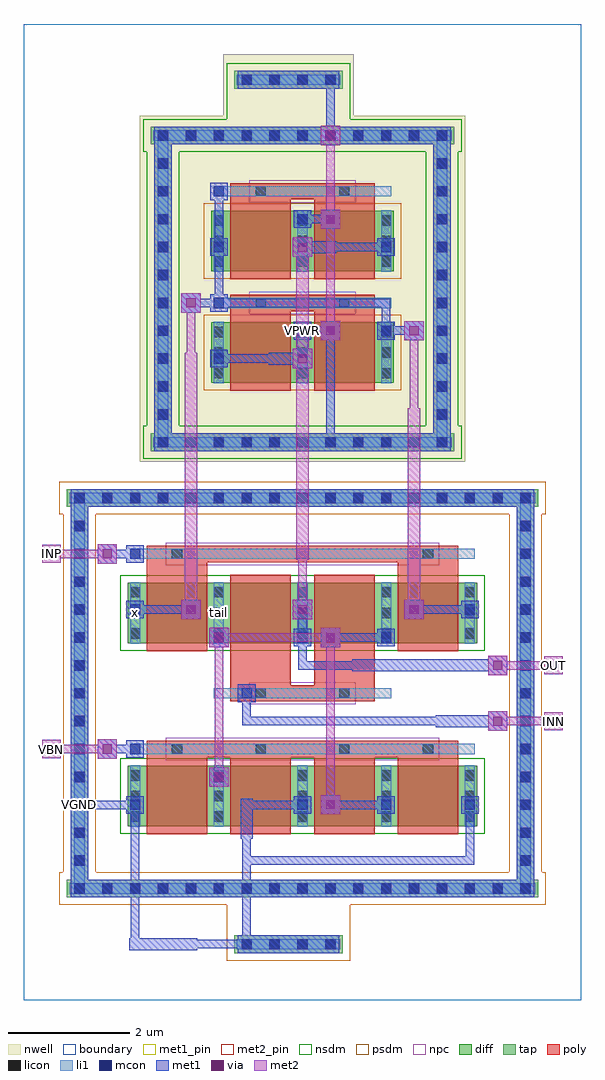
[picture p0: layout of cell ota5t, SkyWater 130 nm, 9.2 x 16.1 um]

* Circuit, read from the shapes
.subckt ota5t INN INP OUT VBN VGND VPWR tail x
XM1 tail VBN VGND VGND sky130_fd_pr__nfet_01v8 w=1 l=1 m=4
XM2 tail INP x VGND sky130_fd_pr__nfet_01v8 w=1 l=1 m=2
XM3 OUT INN tail VGND sky130_fd_pr__nfet_01v8 w=1 l=1 m=2
XM4 VPWR x OUT VPWR sky130_fd_pr__pfet_01v8 w=1 l=1 m=2
XM5 VPWR x x VPWR sky130_fd_pr__pfet_01v8 w=1 l=1 m=2
.ends

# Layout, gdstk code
import gdstk
lib = gdstk.Library(unit=1e-6, precision=1e-09)
def R(c, l, rs):  # rectangles x0, y0, x1, y1
    for r in rs: c.add(gdstk.rectangle(r[:2], r[2:], *l))
def A(c, l, x, y, w, h, nx, ny, dx, dy):  # array of equal rectangles
    R(c, l, [(x+i*dx, y+j*dy, x+i*dx+w, y+j*dy+h) for i in range(nx) for j in range(ny)])
nwell = (64, 20)
diff = (65, 20)
tap = (65, 44)
poly = (66, 20)
licon = (66, 44)
li1 = (67, 20)
mcon = (67, 44)
met1_pin = (68, 16)
met1 = (68, 20)
via = (68, 44)
met2_pin = (69, 16)
met2 = (69, 20)
nsdm = (93, 44)
psdm = (94, 20)
npc = (95, 20)
boundary = (235, 4)

ota5t = lib.new_cell('ota5t')
R(ota5t, nwell, [(1.915,8.875,7.285,14.585), (3.295,14.585,5.445,15.6)])
R(ota5t, diff, [(1.715,2.865,7.485,3.865), (1.715,5.885,7.485,6.885), (3.095,10.18,6.105,11.18), (3.095,12.02,6.105,13.02)])
R(ota5t, tap, [(3.475,0.775,5.265,1.065), (0.715,1.695,8.485,1.985), (0.775,1.695,1.065,8.425), (8.135,1.695,8.425,8.425), (0.715,8.135,8.485,8.425), (2.095,9.055,7.105,9.345), (2.155,9.055,2.445,14.405), (6.755,9.055,7.045,14.405), (2.095,14.115,7.105,14.405), (3.475,15.035,5.265,15.325)])
A(ota5t, poly, 2.03, 2.735, 1, 1.405, 4, 1, 1.38, 0)
R(ota5t, poly, [(2.03,4.005,7.17,4.275), (3.41,4.925,5.79,5.195), (3.41,5.06,4.41,7.015), (4.79,5.06,5.79,7.015), (2.03,5.755,3.03,7.36), (6.17,5.755,7.17,7.36), (2.03,7.225,7.17,7.495), (3.41,10.05,4.41,11.5), (4.79,10.05,5.79,11.5), (3.41,11.365,5.79,11.635), (3.41,11.89,4.41,13.34), (4.79,11.89,5.79,13.34), (3.41,13.205,5.79,13.475)])
A(ota5t, licon, 3.595, 0.835, 0.17, 0.17, 4, 2, 0.46, 14.26)
A(ota5t, licon, 0.835, 1.755, 0.17, 0.17, 17, 2, 0.46, 6.44)
A(ota5t, licon, 0.835, 2.215, 0.17, 0.17, 1, 13, 0, 0.46)
A(ota5t, licon, 8.195, 2.215, 0.17, 0.17, 1, 13, 0, 0.46)
A(ota5t, licon, 1.755, 2.94, 0.17, 0.17, 5, 3, 1.38, 0.34)
A(ota5t, licon, 2.445, 4.055, 0.17, 0.17, 4, 1, 1.38, 0)
A(ota5t, licon, 1.755, 5.96, 0.17, 0.17, 5, 3, 1.38, 0.34)
A(ota5t, licon, 2.215, 9.115, 0.17, 0.17, 11, 2, 0.46, 5.06)
A(ota5t, licon, 2.215, 9.575, 0.17, 0.17, 1, 10, 0, 0.46)
A(ota5t, licon, 6.815, 9.575, 0.17, 0.17, 1, 10, 0, 0.46)
A(ota5t, licon, 3.135, 10.255, 0.17, 0.17, 3, 3, 1.38, 0.34)
A(ota5t, licon, 3.135, 12.095, 0.17, 0.17, 3, 3, 1.38, 0.34)
R(ota5t, licon, [(3.825,4.975,3.995,5.145), (5.205,4.975,5.375,5.145), (2.445,7.275,2.615,7.445), (6.585,7.275,6.755,7.445), (3.825,11.415,3.995,11.585), (5.205,11.415,5.375,11.585), (3.825,13.255,3.995,13.425), (5.205,13.255,5.375,13.425)])
A(ota5t, li1, 1.755, 2.86, 0.17, 1.01, 5, 2, 1.38, 3.02)
A(ota5t, li1, 3.135, 10.175, 0.17, 1.01, 3, 2, 1.38, 1.84)
R(ota5t, li1, [(3.515,0.835,5.225,1.005), (0.755,1.755,8.445,1.925), (0.835,1.755,1.005,8.365), (8.195,1.755,8.365,8.365), (1.755,4.055,7.445,4.225), (3.135,4.975,6.065,5.145), (1.755,7.275,7.445,7.445), (0.755,8.195,8.445,8.365), (2.135,9.115,7.065,9.285), (2.215,9.115,2.385,14.345), (6.815,9.115,6.985,14.345), (3.135,11.415,6.065,11.585), (3.135,13.255,6.065,13.425), (2.135,14.175,7.065,14.345), (3.515,15.095,5.225,15.265)])
A(ota5t, mcon, 3.595, 0.835, 0.17, 0.17, 4, 2, 0.46, 14.26)
A(ota5t, mcon, 0.835, 1.755, 0.17, 0.17, 17, 2, 0.46, 6.44)
A(ota5t, mcon, 0.835, 2.215, 0.17, 0.17, 1, 13, 0, 0.46)
A(ota5t, mcon, 8.195, 2.215, 0.17, 0.17, 1, 13, 0, 0.46)
A(ota5t, mcon, 4.515, 3.135, 0.17, 0.17, 3, 1, 1.38, 0)
A(ota5t, mcon, 3.135, 5.895, 0.17, 0.17, 3, 1, 1.38, 0)
A(ota5t, mcon, 2.215, 9.115, 0.17, 0.17, 11, 2, 0.46, 5.06)
A(ota5t, mcon, 2.215, 9.575, 0.17, 0.17, 1, 7, 0, 0.46)
A(ota5t, mcon, 6.815, 9.575, 0.17, 0.17, 1, 7, 0, 0.46)
A(ota5t, mcon, 3.135, 10.495, 0.17, 0.17, 1, 4, 0, 0.92)
A(ota5t, mcon, 2.215, 12.795, 0.17, 0.17, 3, 1, 2.3, 0)
R(ota5t, mcon, [(1.755,3.135,1.925,3.305), (3.135,3.595,3.305,3.765), (1.755,4.055,1.925,4.225), (3.595,4.975,3.765,5.145), (1.755,6.355,1.925,6.525), (7.275,6.355,7.445,6.525), (1.755,7.275,1.925,7.445), (4.515,10.955,4.685,11.125), (5.895,10.955,6.065,11.125), (5.895,12.335,6.065,12.505), (2.215,13.255,2.385,13.425), (6.815,13.255,6.985,13.425), (2.215,13.715,2.385,13.885), (6.815,13.715,6.985,13.885)])
R(ota5t, met1_pin, [(0.85,3.15,0.99,3.29), (4.455,10.895,4.745,11.185)])
A(ota5t, met1, 4.455, 3.075, 0.29, 0.29, 3, 1, 1.38, 0)
A(ota5t, met1, 3.075, 5.835, 0.29, 0.29, 3, 1, 1.38, 0)
A(ota5t, met1, 2.6, 6.28, 0.32, 0.32, 3, 1, 1.84, 0)
A(ota5t, met1, 3.075, 10.435, 0.29, 0.29, 1, 4, 0, 0.92)
R(ota5t, met1, [(3.535,0.775,5.205,1.065), (1.74,0.82,2.86,1.02), (1.77,0.85,1.91,3.29), (2.69,0.85,3.75,0.99), (3.61,0.85,3.75,0.99), (3.61,0.85,3.75,2.83), (0.775,1.695,8.425,1.985), (0.775,1.695,1.065,8.425), (8.135,1.695,8.425,8.425), (3.61,2.23,7.43,2.37), (7.29,2.23,7.43,3.29), (3.58,2.66,3.78,3.32), (4.9,3.06,5.22,3.38), (1.695,3.075,1.985,3.365), (0.85,3.15,1.91,3.29), (0.85,3.15,0.99,3.29), (0.85,3.15,0.99,8.35), (3.61,3.15,4.67,3.29), (4.99,3.15,6.05,3.29), (3.06,3.52,3.38,3.84), (3.075,3.535,3.365,3.825), (1.22,3.98,1.54,4.3), (1.695,3.995,1.985,4.285), (1.31,4.07,1.91,4.21), (7.66,4.44,7.98,4.76), (6.8,4.5,7.92,4.7), (3.61,4.53,3.75,5.13), (3.61,4.53,6.97,4.67), (3.535,4.915,3.825,5.205), (7.66,5.36,7.98,5.68), (5.42,5.42,7.92,5.62), (4.53,5.45,5.59,5.59), (4.53,5.45,4.67,6.05), (3.06,5.82,3.38,6.14), (4.9,5.82,5.22,6.14), (4.53,5.91,4.67,6.51), (4.99,5.91,6.05,6.05), (1.695,6.295,1.985,6.585), (7.215,6.295,7.505,6.585), (1.77,6.37,2.83,6.51), (6.37,6.37,7.43,6.51), (1.22,7.2,1.54,7.52), (1.695,7.215,1.985,7.505), (1.31,7.29,1.91,7.43), (0.775,8.135,8.425,8.425), (0.85,8.21,0.99,8.35), (2.155,9.055,7.045,9.345), (2.155,9.055,2.445,14.405), (6.755,9.055,7.045,14.405), (4.99,9.13,5.13,9.27), (4.99,9.13,5.13,11.11), (4.44,10.42,4.76,10.74), (4.04,10.48,4.7,10.68), (3.15,10.51,4.21,10.65), (4.9,10.88,5.22,11.2), (6.28,10.88,6.6,11.2), (4.455,10.895,4.745,11.185), (5.835,10.895,6.125,11.185), (4.53,10.97,5.13,11.11), (5.91,10.97,6.05,11.57), (5.91,10.97,6.51,11.11), (2.6,11.34,2.92,11.66), (2.69,11.43,3.29,11.57), (3.15,11.43,3.29,12.49), (3.15,11.43,6.05,11.57), (4.44,12.26,4.76,12.58), (5.835,12.275,6.125,12.565), (4.5,12.32,5.16,12.52), (3.15,12.35,3.29,13.41), (4.99,12.35,6.05,12.49), (4.9,12.72,5.22,13.04), (4.455,12.735,4.745,13.025), (4.53,12.81,5.13,12.95), (4.9,14.1,5.22,14.42), (2.155,14.115,7.045,14.405), (4.99,14.19,5.13,15.25), (4.99,14.19,5.13,14.33), (3.535,15.035,5.205,15.325), (4.99,15.11,5.13,15.25)])
A(ota5t, via, 2.685, 6.365, 0.15, 0.15, 3, 1, 1.84, 0)
R(ota5t, via, [(4.985,3.145,5.135,3.295), (3.145,3.605,3.295,3.755), (1.305,4.065,1.455,4.215), (7.745,4.525,7.895,4.675), (7.745,5.445,7.895,5.595), (3.145,5.905,3.295,6.055), (4.985,5.905,5.135,6.055), (1.305,7.285,1.455,7.435), (4.525,10.505,4.675,10.655), (4.985,10.965,5.135,11.115), (6.365,10.965,6.515,11.115), (2.685,11.425,2.835,11.575), (4.525,12.345,4.675,12.495), (4.985,12.805,5.135,12.955), (4.985,14.185,5.135,14.335)])
R(ota5t, met2_pin, [(0.31,3.99,0.61,4.29), (8.59,4.45,8.89,4.75), (8.59,5.37,8.89,5.67), (0.31,7.21,0.61,7.51)])
A(ota5t, met2, 2.6, 6.28, 0.32, 0.32, 3, 1, 1.84, 0)
R(ota5t, met2, [(4.9,3.06,5.22,3.38), (4.99,3.15,5.13,6.05), (3.06,3.52,3.38,3.84), (3.15,3.61,3.29,6.05), (1.22,3.98,1.54,4.3), (0.31,3.99,0.61,4.29), (0.39,4.07,0.53,4.21), (0.39,4.07,1.45,4.21), (7.66,4.44,7.98,4.76), (8.59,4.45,8.89,4.75), (7.75,4.53,8.81,4.67), (8.67,4.53,8.81,4.67), (7.66,5.36,7.98,5.68), (8.59,5.37,8.89,5.67), (7.75,5.45,8.81,5.59), (8.67,5.45,8.81,5.59), (3.06,5.82,3.38,6.14), (4.9,5.82,5.22,6.14), (3.15,5.91,5.13,6.05), (2.66,6.34,2.86,10.68), (6.34,6.34,6.54,9.76), (4.53,6.37,4.67,7.43), (1.22,7.2,1.54,7.52), (0.31,7.21,0.61,7.51), (4.5,7.26,4.7,10.68), (0.39,7.29,0.53,7.43), (0.39,7.29,1.45,7.43), (6.37,9.59,6.51,11.11), (4.44,10.42,4.76,10.74), (4.5,10.48,4.7,12.52), (2.69,10.51,2.83,11.57), (4.9,10.88,5.22,11.2), (6.28,10.88,6.6,11.2), (4.99,10.97,5.13,12.95), (2.6,11.34,2.92,11.66), (4.44,12.26,4.76,12.58), (4.9,12.72,5.22,13.04), (4.99,12.81,5.13,14.33), (4.9,14.1,5.22,14.42)])
R(ota5t, nsdm, [(1.59,2.74,7.61,3.99), (1.59,5.76,7.61,7.01), (1.97,8.93,7.23,9.47), (2.03,9.47,2.57,13.99), (6.63,9.47,7.17,13.99), (1.97,13.99,7.23,14.53), (3.35,14.53,5.39,15.45)])
R(ota5t, psdm, [(3.35,0.65,5.39,1.57), (0.59,1.57,8.61,2.11), (0.65,2.11,1.19,8.01), (8.01,2.11,8.55,8.01), (0.59,8.01,8.61,8.55), (2.97,10.055,6.23,11.305), (2.97,11.895,6.23,13.145)])
R(ota5t, npc, [(2.345,3.955,6.855,4.325), (3.725,4.875,5.475,5.245), (2.345,7.175,6.855,7.545), (3.725,11.315,5.475,11.685), (3.725,13.155,5.475,13.525)])
R(ota5t, boundary, [(0,0,9.2,16.1)])
ota5t.add(gdstk.Label('x', (1.84,6.385), layer=67, texttype=5))
ota5t.add(gdstk.Label('tail', (3.22,6.385), layer=67, texttype=5))
ota5t.add(gdstk.Label('VPWR', (4.6,11.04), layer=68, texttype=5))
ota5t.add(gdstk.Label('VGND', (0.92,3.22), layer=68, texttype=5))
ota5t.add(gdstk.Label('INP', (0.46,7.36), layer=69, texttype=5))
ota5t.add(gdstk.Label('INN', (8.74,4.6), layer=69, texttype=5))
ota5t.add(gdstk.Label('VBN', (0.46,4.14), layer=69, texttype=5))
ota5t.add(gdstk.Label('OUT', (8.74,5.52), layer=69, texttype=5))
ota5t.add(gdstk.Label('VPWR', (4.6,11.04), layer=68, texttype=16))
ota5t.add(gdstk.Label('VGND', (0.92,3.22), layer=68, texttype=16))
ota5t.add(gdstk.Label('INP', (0.46,7.36), layer=69, texttype=16))
ota5t.add(gdstk.Label('INN', (8.74,4.6), layer=69, texttype=16))
ota5t.add(gdstk.Label('VBN', (0.46,4.14), layer=69, texttype=16))
ota5t.add(gdstk.Label('OUT', (8.74,5.52), layer=69, texttype=16))

lib.write_gds('ota5t.gds')
